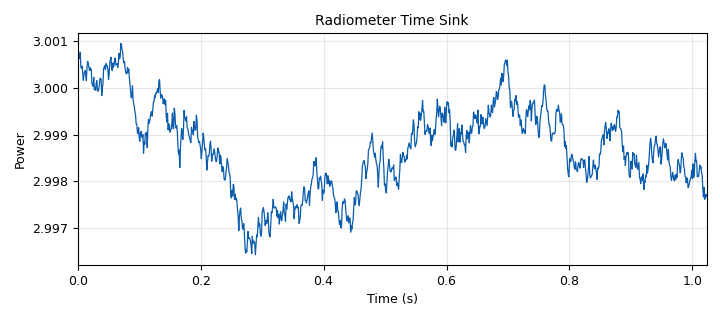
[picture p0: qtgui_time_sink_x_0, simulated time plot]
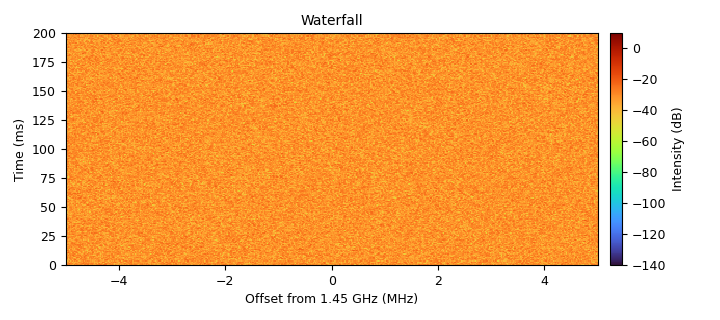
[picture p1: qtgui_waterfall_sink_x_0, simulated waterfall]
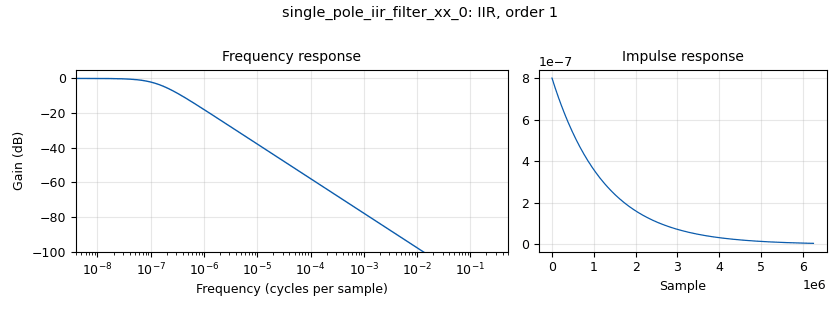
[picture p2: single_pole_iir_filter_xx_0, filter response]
options:
  parameters:
    generate_options: qt_gui
    id: gnu_radio_controller
    output_language: python
    title: Radiometer control script
  states: {}

blocks:
- name: IntegrationTime
  id: variable_qtgui_range
  parameters:
    gui_hint: 6,0,1,1
    label: Integration Time
    start: '0'
    step: '0.2'
    stop: '10'
    value: '8'
  states: {}
- name: IntegrationTimeLong
  id: variable
  parameters:
    value: '8'
  states: {}
- name: IntegrationTimeShort
  id: variable
  parameters:
    value: '0.8'
  states: {}
- name: T_atm
  id: variable_qtgui_entry
  parameters:
    label: T athmosphere
    type: real
    value: '1'
  states: {}
- name: T_other
  id: variable_qtgui_entry
  parameters:
    label: T other
    type: real
    value: '1'
  states: {}
- name: T_sys
  id: variable_qtgui_entry
  parameters:
    label: T system
    type: real
    value: '1'
  states: {}
- name: average_power
  id: variable
  parameters:
    value: '3'
  states: {}
- name: calibrate
  id: variable_qtgui_chooser
  parameters:
    label: Calibration
    label0: No rho
    label1: Rho calibration
    label2: Atm calibration
    label3: Atm calibration+
    num_opts: '4'
    option0: '0'
    option1: '1'
    option2: '2'
    option3: '3'
    type: int
    value: '0'
    widget: radio_buttons
  states: {}
- name: center_frequency
  id: variable
  parameters:
    value: 1450E6
  states: {}
- name: file_path
  id: variable_qtgui_entry
  parameters:
    label: T athmosphere
    type: string
    value: /home/slash/Desktop/Phys 258/Phys_258_Final_Project/Amateur_measurement_of_the_CMB/data/no_file
  states: {}
- name: file_write_rate
  id: variable
  parameters:
    value: '10'
  states: {}
- name: ingest_data
  id: variable_qtgui_chooser
  parameters:
    gui_hint: 6,1,1,1
    label: Ingest data ?
    label0: Stop
    label1: Start
    num_opts: '2'
    option0: '0'
    option1: '1'
    type: int
    value: '0'
    widget: radio_buttons
  states: {}
- name: intermediate_rate
  id: variable
  parameters:
    value: '1000'
  states: {}
- name: local_oscillator
  id: variable
  parameters:
    value: 1.0E9
  states: {}
- name: noise_atm_zenith
  id: variable_qtgui_range
  parameters:
    gui_hint: 2,0,1,2
    label: Atm Zenith
    start: '0'
    step: '0.2'
    stop: '10'
    value: '1'
  states: {}
- name: noise_cmb
  id: variable_qtgui_range
  parameters:
    gui_hint: 0,0,1,2
    label: 'CMB            '
    start: '0'
    step: '0.2'
    stop: '10'
    value: '1'
  states: {}
- name: noise_sys
  id: variable_qtgui_range
  parameters:
    gui_hint: 1,0,1,2
    label: 'System       '
    start: '0'
    step: '0.2'
    stop: '10'
    value: '1'
  states: {}
- name: p_cold
  id: variable_qtgui_range
  parameters:
    label: 'System       '
    start: '1'
    step: '0.2'
    stop: '10'
    value: '1'
  states: {state: disabled}
- name: p_hot
  id: variable_qtgui_range
  parameters:
    label: 'System       '
    start: '1'
    step: '0.2'
    stop: '10'
    value: '1'
  states: {state: disabled}
- name: record_data
  id: variable_qtgui_chooser
  parameters:
    label: Record data ?
    label0: Stop
    label1: Start
    num_opts: '2'
    option0: '0'
    option1: '1'
    type: int
    value: '0'
    widget: radio_buttons
  states: {}
- name: rho
  id: variable_qtgui_entry
  parameters:
    label: Rho
    type: real
    value: '1'
  states: {}
- name: samp_rate
  id: variable
  parameters:
    value: 10E6
  states: {}
- name: std_dev_power
  id: variable
  parameters:
    value: '0.000025'
  states: {}
- name: vec_len
  id: variable
  parameters:
    value: '4096'
  states: {}
- name: analog_const_source_x_0
  id: analog_const_source_x
  parameters:
    const: p_hot
    type: float
  states: {state: disabled}
- name: analog_const_source_x_0_0
  id: analog_const_source_x
  parameters:
    const: p_cold
    type: float
  states: {state: disabled}
- name: analog_const_source_x_1
  id: analog_const_source_x
  parameters:
    const: T_sys
    type: float
  states: {}
- name: analog_const_source_x_1_0
  id: analog_const_source_x
  parameters:
    const: T_atm
    type: float
  states: {}
- name: analog_const_source_x_1_0_0
  id: analog_const_source_x
  parameters:
    const: T_other
    type: float
  states: {}
- name: analog_noise_source_x_0
  id: analog_noise_source_x
  parameters:
    amp: noise_cmb
    noise_type: analog.GR_UNIFORM
    seed: '0'
    type: complex
  states: {}
- name: analog_noise_source_x_0_0
  id: analog_noise_source_x
  parameters:
    amp: noise_sys
    noise_type: analog.GR_UNIFORM
    seed: '0'
    type: complex
  states: {}
- name: analog_noise_source_x_0_0_0
  id: analog_noise_source_x
  parameters:
    amp: noise_atm_zenith
    noise_type: analog.GR_UNIFORM
    seed: '0'
    type: complex
  states: {}
- name: blocks_add_xx_0
  id: blocks_add_xx
  parameters:
    num_inputs: '3'
    type: complex
  states: {}
- name: blocks_complex_to_mag_squared_1
  id: blocks_complex_to_mag_squared
  parameters: {}
  states: {}
- name: blocks_file_sink_0
  id: blocks_file_sink
  parameters:
    append: 'True'
    file: file_path
    type: float
  states: {}
- name: blocks_keep_one_in_n_0
  id: blocks_keep_one_in_n
  parameters:
    n: int(samp_rate/intermediate_rate)
    type: float
  states: {}
- name: blocks_keep_one_in_n_0_0
  id: blocks_keep_one_in_n
  parameters:
    n: int(intermediate_rate/file_write_rate)
    type: float
  states: {}
- name: blocks_moving_average_xx_0
  id: blocks_moving_average_xx
  parameters:
    length: '1000'
    max_iter: '4000'
    scale: '0.001'
    type: float
  states: {}
- name: blocks_multiply_const_vxx_0
  id: blocks_multiply_const_vxx
  parameters:
    const: '1'
    type: complex
  states: {}
- name: blocks_multiply_const_vxx_1
  id: blocks_multiply_const_vxx
  parameters:
    const: rho
    type: float
  states: {}
- name: blocks_null_sink_0
  id: blocks_null_sink
  parameters:
    type: float
  states: {}
- name: blocks_null_sink_0_0
  id: blocks_null_sink
  parameters:
    type: float
  states: {}
- name: blocks_selector_0
  id: blocks_selector
  parameters:
    enabled: 'True'
    input_index: '0'
    num_inputs: '1'
    num_outputs: '2'
    output_index: ingest_data
    type: float
  states: {}
- name: blocks_selector_0_0
  id: blocks_selector
  parameters:
    enabled: 'True'
    input_index: calibrate
    num_inputs: '4'
    num_outputs: '1'
    output_index: '0'
    type: float
  states: {}
- name: blocks_selector_0_1
  id: blocks_selector
  parameters:
    enabled: 'True'
    input_index: '0'
    num_inputs: '1'
    num_outputs: '2'
    output_index: ingest_data
    type: float
  states: {}
- name: blocks_stream_to_vector_0
  id: blocks_stream_to_vector
  parameters:
    num_items: vec_len
    type: complex
  states: {state: disabled}
- name: blocks_sub_xx_0
  id: blocks_sub_xx
  parameters:
    type: float
  states: {}
- name: blocks_sub_xx_0_0
  id: blocks_sub_xx
  parameters:
    type: float
  states: {}
- name: blocks_sub_xx_0_1
  id: blocks_sub_xx
  parameters:
    type: float
  states: {}
- name: calibration_block_0
  id: calibration_block
  parameters:
    T_cold: '200'
    T_hot: '77'
    samp_rate: samp_rate
  states: {state: disabled}
- name: import_0
  id: import
  parameters:
    imports: import datetime
  states: {}
- name: import_0_0
  id: import
  parameters:
    imports: import numpy as np
  states: {}
- name: moving_average
  id: qtgui_number_sink
  parameters:
    graph_type: qtgui.NUM_GRAPH_NONE
    gui_hint: 7,1,1,1
    name: Moving Average
    type: float
  states: {}
- name: note_0
  id: note
  parameters:
    note: Simulation circuit
  states: {}
- name: note_0_0
  id: note
  parameters:
    note: airspy r2 input, bias tee off, IQ output
  states: {}
- name: note_1
  id: note
  parameters:
    note: Blocks start
  states: {}
- name: num_sink_1
  id: qtgui_number_sink
  parameters:
    graph_type: qtgui.NUM_GRAPH_NONE
    gui_hint: 7,0,1,1
    name: Power undecimated
    type: float
  states: {}
- name: osmosdr_source_0
  id: osmosdr_source
  parameters:
    args: airspy=0,bias=0,pack=0
    bb_gain0: '10'
    freq0: center_frequency
    gain0: '0'
    gain_mode0: 'False'
    if_gain0: '10'
    sample_rate: samp_rate
    sync: sync
    time_source0: gpsdo
    type: fc32
  states: {state: disabled}
- name: qtgui_histogram_sink_x_0_0
  id: qtgui_histogram_sink_x
  parameters:
    accum: 'True'
    alpha1: '0.8'
    bins: '1000'
    grid: 'True'
    gui_hint: 5,1,1,1
    label1: Bin counts
    marker1: '0'
    name: Histogram
    size: '1'
    style1: '4'
    type: float
    xmax: average_power+std_dev_power*4
    xmin: average_power-std_dev_power*4
  states: {}
- name: qtgui_time_sink_x_0
  id: qtgui_time_sink_x
  parameters:
    autoscale: 'True'
    entags: 'False'
    gui_hint: 5,0,1,1
    name: Radiometer Time Sink
    size: '1024'
    srate: intermediate_rate
    type: float
    update_time: '0.1'
    ylabel: Power
    ymax: '20'
    yunit: dB*
  states: {}
- name: qtgui_waterfall_sink_x_0
  id: qtgui_waterfall_sink_x
  parameters:
    bw: samp_rate
    fc: center_frequency
    fftsize: '1024'
    gui_hint: 3,0,2,2
    name: Waterfall
    type: complex
  states: {}
- name: single_pole_iir_filter_xx_0
  id: single_pole_iir_filter_xx
  parameters:
    alpha: 1/samp_rate*IntegrationTime
    type: float
  states: {}

connections:
- [analog_const_source_x_0, '0', calibration_block_0, '0']
- [analog_const_source_x_0_0, '0', calibration_block_0, '1']
- [analog_const_source_x_1, '0', blocks_sub_xx_0_0, '1']
- [analog_const_source_x_1_0, '0', blocks_sub_xx_0, '1']
- [analog_const_source_x_1_0_0, '0', blocks_sub_xx_0_1, '1']
- [analog_noise_source_x_0, '0', blocks_add_xx_0, '0']
- [analog_noise_source_x_0_0, '0', blocks_add_xx_0, '1']
- [analog_noise_source_x_0_0_0, '0', blocks_add_xx_0, '2']
- [blocks_add_xx_0, '0', blocks_multiply_const_vxx_0, '0']
- [blocks_complex_to_mag_squared_1, '0', single_pole_iir_filter_xx_0, '0']
- [blocks_keep_one_in_n_0, '0', blocks_moving_average_xx_0, '0']
- [blocks_keep_one_in_n_0, '0', num_sink_1, '0']
- [blocks_keep_one_in_n_0, '0', qtgui_time_sink_x_0, '0']
- [blocks_keep_one_in_n_0_0, '0', blocks_selector_0_1, '0']
- [blocks_keep_one_in_n_0_0, '0', qtgui_histogram_sink_x_0_0, '0']
- [blocks_moving_average_xx_0, '0', blocks_selector_0, '0']
- [blocks_multiply_const_vxx_0, '0', blocks_complex_to_mag_squared_1, '0']
- [blocks_multiply_const_vxx_0, '0', qtgui_waterfall_sink_x_0, '0']
- [blocks_multiply_const_vxx_1, '0', blocks_sub_xx_0_0, '0']
- [blocks_selector_0, '0', blocks_null_sink_0, '0']
- [blocks_selector_0, '1', blocks_multiply_const_vxx_1, '0']
- [blocks_selector_0, '1', blocks_selector_0_0, '0']
- [blocks_selector_0_0, '0', blocks_keep_one_in_n_0_0, '0']
- [blocks_selector_0_0, '0', moving_average, '0']
- [blocks_selector_0_1, '0', blocks_null_sink_0_0, '0']
- [blocks_selector_0_1, '1', blocks_file_sink_0, '0']
- [blocks_sub_xx_0, '0', blocks_selector_0_0, '2']
- [blocks_sub_xx_0, '0', blocks_sub_xx_0_1, '0']
- [blocks_sub_xx_0_0, '0', blocks_selector_0_0, '1']
- [blocks_sub_xx_0_0, '0', blocks_sub_xx_0, '0']
- [blocks_sub_xx_0_1, '0', blocks_selector_0_0, '3']
- [osmosdr_source_0, '0', blocks_complex_to_mag_squared_1, '0']
- [osmosdr_source_0, '0', qtgui_waterfall_sink_x_0, '0']
- [single_pole_iir_filter_xx_0, '0', blocks_keep_one_in_n_0, '0']

metadata:
  file_format: 1
